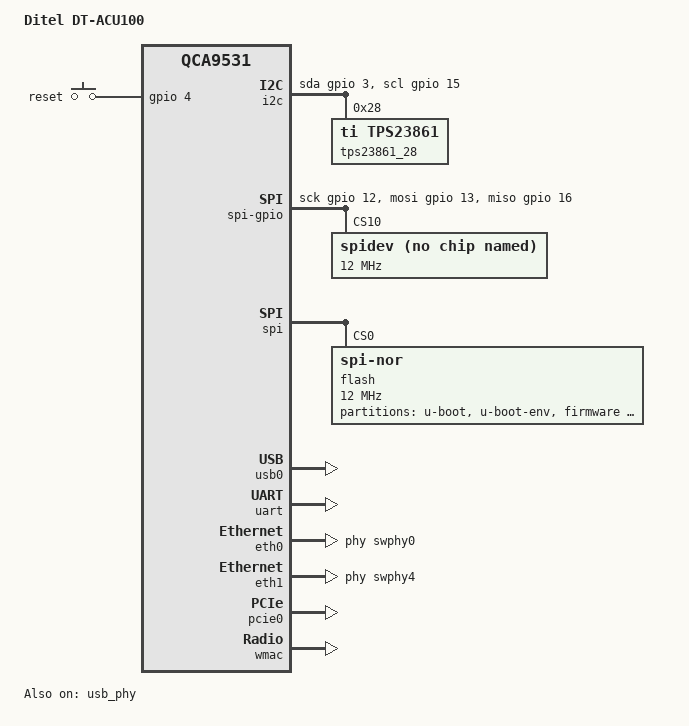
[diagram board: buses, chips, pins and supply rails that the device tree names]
// SPDX-License-Identifier: GPL-2.0-or-later OR MIT

#include "qca953x.dtsi"

#include <dt-bindings/gpio/gpio.h>
#include <dt-bindings/input/input.h>
#include <dt-bindings/leds/common.h>

/ {
	compatible = "ditel,dt-acu100", "qca,qca9531";
	model = "Ditel DT-ACU100";

	aliases {
		label-mac-device = &eth0;
		serial0 = &uart;
	};

	keys {
		compatible = "gpio-keys";

		reset {
			label = "reset";
			linux,code = <KEY_RESTART>;
			gpios = <&gpio 4 GPIO_ACTIVE_HIGH>;
			debounce-interval = <60>;
		};
	};

	i2c: i2c-gpio {
		compatible = "i2c-gpio";
		scl-gpios = <&gpio 15 (GPIO_ACTIVE_HIGH | GPIO_OPEN_DRAIN)>;
		sda-gpios = <&gpio 3 (GPIO_ACTIVE_HIGH | GPIO_OPEN_DRAIN)>;
		i2c-gpio,delay-us = <2>;
		#address-cells = <1>;
		#size-cells = <0>;

		tps23861_28: tps23861@28 {
			compatible = "ti,tps23861";
			reg = <0x28>;
			shunt-resistor-micro-ohms = <255000>;
		};
	};

	spi-gpio {
		compatible = "spi-gpio";
		#address-cells = <1>;
		#size-cells = <0>;

		cs-gpios = <&gpio 2 GPIO_ACTIVE_HIGH>;
		gpio-sck = <&gpio 12 GPIO_ACTIVE_HIGH>;
		gpio-mosi = <&gpio 13 GPIO_ACTIVE_HIGH>;
		gpio-miso = <&gpio 16 GPIO_ACTIVE_HIGH>;
		num-chipselects = <1>;
		spidev@0 {
			compatible = "spidev";
			reg = <10>;
			spi-max-frequency = <12000000>;
		};
	};

};

&spi {
	status = "okay";

	flash@0 {
		compatible = "jedec,spi-nor";
		reg = <0>;
		spi-max-frequency = <12000000>;

		partitions {
			compatible = "fixed-partitions";
			#address-cells = <1>;
			#size-cells = <1>;

			partition@0 {
				label = "u-boot";
				reg = <0x000000 0x040000>;
				read-only;
			};

			partition@40000 {
				label = "u-boot-env";
				reg = <0x040000 0x010000>;
			};

			firmware: partition@50000 {
				label = "firmware";
				reg = <0x050000 0xf90000>;
				compatible = "denx,uimage";
			};

			ditel: partition@fe0000 {
				label = "ditel";
				reg = <0xfe0000 0x010000>;
				read-only;
			};

			art: partition@ff0000 {
				label = "art";
				reg = <0xff0000 0x010000>;
				read-only;

				nvmem-layout {
					compatible = "fixed-layout";
					#address-cells = <1>;
					#size-cells = <1>;

					cal_art_1000: cal@1000 {
						reg = <0x1000 0x440>;
					};

					macaddr_art_1002: macaddr@1002 {
						compatible = "mac-base";
						reg = <0x1002 0x6>;
						#nvmem-cell-cells = <1>;
					};
				};
			};
		};
	};

};

&usb0 {
	status = "okay";
};

&usb_phy {
	status = "okay";
};

&uart {
	status = "okay";
};

&eth0 {
	status = "okay";

	phy-handle = <&swphy0>;

	nvmem-cells = <&macaddr_art_1002 (-2)>;
	nvmem-cell-names = "mac-address";
};

&eth1 {
	phy-handle = <&swphy4>;

	nvmem-cells = <&macaddr_art_1002 (-1)>;
	nvmem-cell-names = "mac-address";

	gmac-config {
		device = <&gmac>;
		switch-phy-swap = <1>;
	};
};

&pcie0 {
	status = "okay";
};

&wmac {
	status = "okay";

	nvmem-cells = <&cal_art_1000>, <&macaddr_art_1002 0>;
	nvmem-cell-names = "calibration", "mac-address";
};

